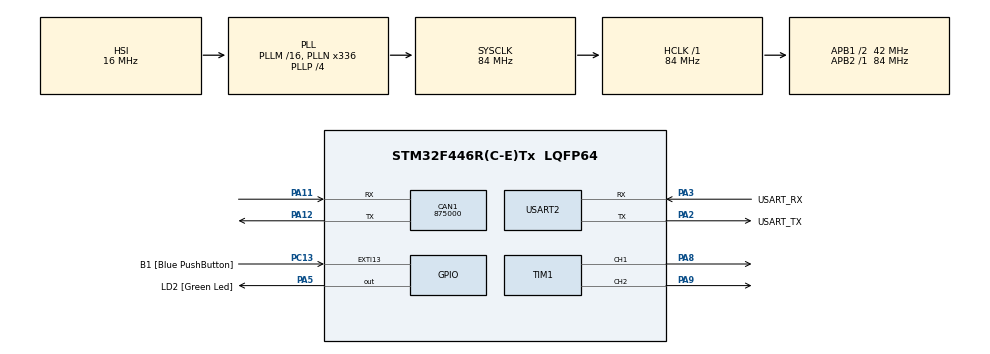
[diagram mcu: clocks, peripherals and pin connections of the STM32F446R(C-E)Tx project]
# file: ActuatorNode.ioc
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CAN1.CalculateBaudRate=875000
CAN1.CalculateTimeBit=1142
CAN1.CalculateTimeQuantum=380.95238095238096
Mcu.Family=STM32F4
Mcu.Name=STM32F446R(C-E)Tx
Mcu.Package=LQFP64
NVIC.CAN1_RX0_IRQn=true\:0\:0\:false\:false\:true\:true\:true\:true
NVIC.CAN1_RX1_IRQn=true\:0\:0\:false\:false\:true\:true\:true\:true
NVIC.PriorityGroup=NVIC_PRIORITYGROUP_0
PA11.Mode=CAN_Activate
PA11.Signal=CAN1_RX
PA12.Mode=CAN_Activate
PA12.Signal=CAN1_TX
PA13.GPIO_Label=TMS
PA13.Mode=Serial_Wire
PA13.Signal=SYS_JTMS-SWDIO
PA14.GPIO_Label=TCK
PA14.Mode=Serial_Wire
PA14.Signal=SYS_JTCK-SWCLK
PA2.GPIO_Label=USART_TX
PA2.Mode=Asynchronous
PA2.Signal=USART2_TX
PA3.GPIO_Label=USART_RX
PA3.Mode=Asynchronous
PA3.Signal=USART2_RX
PA5.GPIO_Label=LD2 [Green Led]
PA5.Signal=GPIO_Output
PA8.Signal=S_TIM1_CH1
PA9.Signal=S_TIM1_CH2
PB3.GPIO_Label=SWO
PB3.Signal=SYS_JTDO-SWO
PC13.GPIO_Label=B1 [Blue PushButton]
PC13.GPIO_ModeDefaultEXTI=GPIO_MODE_IT_FALLING
PC13.Signal=GPXTI13
PC14-OSC32_IN.Mode=LSE-External-Oscillator
PC14-OSC32_IN.Signal=RCC_OSC32_IN
PC15-OSC32_OUT.Mode=LSE-External-Oscillator
PC15-OSC32_OUT.Signal=RCC_OSC32_OUT
PH0-OSC_IN.Mode=HSE-External-Oscillator
PH0-OSC_IN.Signal=RCC_OSC_IN
PH1-OSC_OUT.Mode=HSE-External-Oscillator
PH1-OSC_OUT.Signal=RCC_OSC_OUT
ProjectManager.HeapSize=0x200
ProjectManager.StackSize=0x400
ProjectManager.TargetToolchain=STM32CubeIDE
RCC.48MHZClocksFreq_Value=84000000
RCC.AHBFreq_Value=84000000
RCC.APB1CLKDivider=RCC_HCLK_DIV2
RCC.APB1Freq_Value=42000000
RCC.APB1TimFreq_Value=84000000
RCC.APB2Freq_Value=84000000
RCC.APB2TimFreq_Value=84000000
RCC.CortexFreq_Value=84000000
RCC.FLatency-AdvancedSettings=FLASH_LATENCY_2
RCC.HCLKFreq_Value=84000000
RCC.HSE_VALUE=8000000
RCC.HSI_VALUE=16000000
RCC.PLLN=336
RCC.PLLP=RCC_PLLP_DIV4
RCC.SYSCLKFreq_VALUE=84000000
RCC.SYSCLKSource=RCC_SYSCLKSOURCE_PLLCLK
RCC.USBFreq_Value=168000000
RCC.VCOOutputFreq_Value=336000000
SH.S_TIM1_CH1.0=TIM1_CH1,PWM Generation1 CH1
SH.S_TIM1_CH2.0=TIM1_CH2,PWM Generation2 CH2
TIM1.Channel-PWM\ Generation1\ CH1=TIM_CHANNEL_1
TIM1.Channel-PWM\ Generation2\ CH2=TIM_CHANNEL_2
USART2.VirtualMode=VM_ASYNC
board=NUCLEO-F446RE

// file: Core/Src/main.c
/* USER CODE BEGIN Header */
/**
  ******************************************************************************
  * @file           : main.c
  * @brief          : Main program body
  ******************************************************************************
  * @attention
  *
  * Copyright (c) 2026 STMicroelectronics.
  * All rights reserved.
  *
  * This software is licensed under terms that can be found in the LICENSE file
  * in the root directory of this software component.
  * If no LICENSE file comes with this software, it is provided AS-IS.
  *
  ******************************************************************************
  */
/* USER CODE END Header */
#include "main.h"
#include "can.h"
#include "tim.h"
#include "usart.h"
#include "gpio.h"

/* USER CODE BEGIN PV */
CAN_RxHeaderTypeDef rxHeader; // 이 줄을 추가해야 합니다.
uint8_t rxData[8];
uint16_t distance = 100; // 수신받은 거리 저장 (cm)
/* USER CODE END PV */

void SystemClock_Config(void);
/* USER CODE BEGIN PFP */
void update_alarm(uint16_t dist);
/* USER CODE END PFP */

int main(void)
{

  /* MCU Configuration--------------------------------------------------------*/

  /* Reset of all peripherals, Initializes the Flash interface and the Systick. */
  HAL_Init();

  /* Configure the system clock */
  SystemClock_Config();

  /* Initialize all configured peripherals */
  MX_GPIO_Init();
  MX_USART2_UART_Init();
  MX_CAN1_Init();
  MX_TIM1_Init();
  /* USER CODE BEGIN 2 */
  // CAN 필터 설정 (모든 메시지 수신 또는 특정 ID만 수신)
  CAN_FilterTypeDef canFilter;
  canFilter.FilterBank = 0;
  canFilter.FilterMode = CAN_FILTERMODE_IDMASK;
  canFilter.FilterScale = CAN_FILTERSCALE_32BIT;
  canFilter.FilterIdHigh = 0x0000;
  canFilter.FilterIdLow = 0x0000;
  canFilter.FilterMaskIdHigh = 0x0000;
  canFilter.FilterMaskIdLow = 0x0000;
  canFilter.FilterFIFOAssignment = CAN_RX_FIFO0;
  canFilter.FilterActivation = ENABLE;
  HAL_CAN_ConfigFilter(&hcan1, &canFilter);

  // CAN 시작 및 인터럽트 활성화
  HAL_CAN_Start(&hcan1);
  HAL_CAN_ActivateNotification(&hcan1, CAN_IT_RX_FIFO0_MSG_PENDING);

  // PWM 시작
  HAL_TIM_PWM_Start(&htim1, TIM_CHANNEL_1); // PA8 - Buzzer
  HAL_TIM_PWM_Start(&htim1, TIM_CHANNEL_2); // PA9 - LED
  /* USER CODE END 2 */

  /* Infinite loop */
  while (1)
  {

  }
}

void SystemClock_Config(void)
{
  RCC_OscInitTypeDef RCC_OscInitStruct = {0};
  RCC_ClkInitTypeDef RCC_ClkInitStruct = {0};

  /** Configure the main internal regulator output voltage
  */
  __HAL_RCC_PWR_CLK_ENABLE();
  __HAL_PWR_VOLTAGESCALING_CONFIG(PWR_REGULATOR_VOLTAGE_SCALE3);

  /** Initializes the RCC Oscillators according to the specified parameters
  * in the RCC_OscInitTypeDef structure.
  */
  RCC_OscInitStruct.OscillatorType = RCC_OSCILLATORTYPE_HSI;
  RCC_OscInitStruct.HSIState = RCC_HSI_ON;
  RCC_OscInitStruct.HSICalibrationValue = RCC_HSICALIBRATION_DEFAULT;
  RCC_OscInitStruct.PLL.PLLState = RCC_PLL_ON;
  RCC_OscInitStruct.PLL.PLLSource = RCC_PLLSOURCE_HSI;
  RCC_OscInitStruct.PLL.PLLM = 16;
  RCC_OscInitStruct.PLL.PLLN = 336;
  RCC_OscInitStruct.PLL.PLLP = RCC_PLLP_DIV4;
  RCC_OscInitStruct.PLL.PLLQ = 2;
  RCC_OscInitStruct.PLL.PLLR = 2;
  if (HAL_RCC_OscConfig(&RCC_OscInitStruct) != HAL_OK)
  {
    Error_Handler();
  }

  /** Initializes the CPU, AHB and APB buses clocks
  */
  RCC_ClkInitStruct.ClockType = RCC_CLOCKTYPE_HCLK|RCC_CLOCKTYPE_SYSCLK
                              |RCC_CLOCKTYPE_PCLK1|RCC_CLOCKTYPE_PCLK2;
  RCC_ClkInitStruct.SYSCLKSource = RCC_SYSCLKSOURCE_PLLCLK;
  RCC_ClkInitStruct.AHBCLKDivider = RCC_SYSCLK_DIV1;
  RCC_ClkInitStruct.APB1CLKDivider = RCC_HCLK_DIV2;
  RCC_ClkInitStruct.APB2CLKDivider = RCC_HCLK_DIV1;

  if (HAL_RCC_ClockConfig(&RCC_ClkInitStruct, FLASH_LATENCY_2) != HAL_OK)
  {
    Error_Handler();
  }
}

/* USER CODE BEGIN 4 */
// CAN 메시지 수신 인터럽트 콜백
void HAL_CAN_RxFifo0MsgPendingCallback(CAN_HandleTypeDef *hcan) {
    if (HAL_CAN_GetRxMessage(hcan, CAN_RX_FIFO0, &rxHeader, rxData) == HAL_OK) {
        // 센서 보드에서 보낸 데이터 파싱 (예: 센서ID=rxData[0], 거리=rxData[1]<<8 | rxData[2])
        distance = (rxData[1] << 8) | rxData[2];

        // 거리별 동적 알람 처리
        update_alarm(distance);
    }
}

void update_alarm(uint16_t dist) {
    if (dist > 80) { // 80cm보다 멀면 끄기
        __HAL_TIM_SET_COMPARE(&htim1, TIM_CHANNEL_1, 0);
        __HAL_TIM_SET_COMPARE(&htim1, TIM_CHANNEL_2, 0);
    }
    else {
        // 거리가 가까울수록(dist 작을수록) ARR 값을 작게 설정하여 주기를 빠르게 함
        // 예: 80cm일 때 ARR=2000, 10cm일 때 ARR=500
        uint32_t new_arr = (dist * 20) + 300;
        __HAL_TIM_SET_AUTORELOAD(&htim1, new_arr);

        // Duty Cycle을 50%로 유지 (소리를 가장 크게 내는 비율)
        __HAL_TIM_SET_COMPARE(&htim1, TIM_CHANNEL_1, new_arr / 2);
        __HAL_TIM_SET_COMPARE(&htim1, TIM_CHANNEL_2, new_arr / 2);
    }
}
/* USER CODE END 4 */

void Error_Handler(void)
{
  __disable_irq();
  while (1)
  {
  }
}
